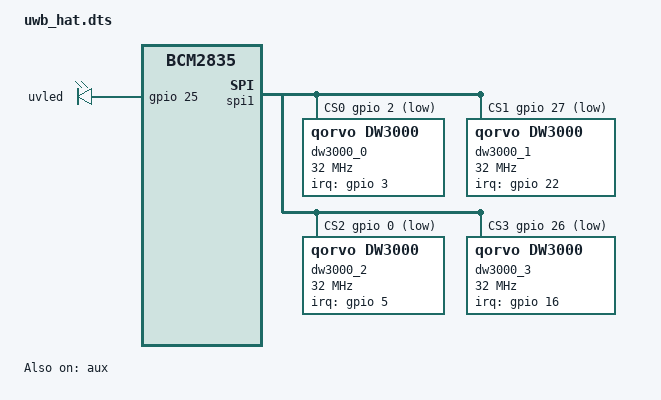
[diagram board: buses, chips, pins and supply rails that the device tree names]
/dts-v1/;
/plugin/;


/ {
	compatible = "brcm,bcm2835";

	fragment@0 {
		target = <&gpio>;
		__overlay__ {
			spi1_pins: spi1_pins {
				brcm,pins = <19 20 21>;
				brcm,function = <3>; /* alt4 */
			};

			spi1_cs_pins: spi1_cs_pins {
				brcm,pins = <2 27 0 26>;
				brcm,function = <1>; /* output */
			};

            port1_int_pins: port1_int_pins {
                brcm,pins = <3>;
                brcm,function = <0>; /* input */
                brcm,pull = <1>;
            };

            port2_int_pins: port2_int_pins {
                brcm,pins = <22>;
                brcm,function = <0>; /* input */
                brcm,pull = <1>;
            };

            port3_int_pins: port3_int_pins {
                brcm,pins = <5>;
                brcm,function = <0>; /* input */
                brcm,pull = <1>;
            };

            port4_int_pins: port4_int_pins {
                brcm,pins = <16>;
                brcm,function = <0>; /* input */
                brcm,pull = <1>;
            };

            uvled_pins: uvled_pins {
				brcm,pins = <25>; // gpio number
				brcm,function = <1>; // 0 = input, 1 = output
				brcm,pull = <0>; // 0 = none, 1 = pull down, 2 = pull up
			};
		};
	};

	fragment@1 {
		target = <&spi1>;
		frag1: __overlay__ {
			/* needed to avoid dtc warning */
			#address-cells = <1>;
			#size-cells = <0>;
			pinctrl-names = "default";
			pinctrl-0 = <&spi1_pins &spi1_cs_pins>;
			cs-gpios = <&gpio 2 1>, <&gpio 27 1>, <&gpio 0 1>, <&gpio 26 1>;
			status = "okay";

            dw3000_0: dw3000@0 {
				compatible = "qorvo,dw3000";
				status = "okay";

				pinctrl-names = "default";
				pinctrl-0 = <&port1_int_pins>;

				reg = <0>;
				interrupt-parent = <&gpio>;
				interrupts = <3 1>; /* active high */
				spi-max-frequency = <32000000>;
            };

            dw3000_1: dw3000@1 {
                compatible = "qorvo,dw3000";
				status = "okay";

                pinctrl-names = "default";
                pinctrl-0 = <&port2_int_pins>;

                reg = <1>;
                interrupt-parent = <&gpio>;
                interrupts = <22 1>; /* active high */
                spi-max-frequency = <32000000>;
            };

            dw3000_2: dw3000@2 {
                compatible = "qorvo,dw3000";
                status = "okay";

                pinctrl-names = "default";
                pinctrl-0 = <&port3_int_pins>;

                reg = <2>;
                interrupt-parent = <&gpio>;
                interrupts = <5 1>; /* active high */
                spi-max-frequency = <32000000>;
            };

            dw3000_3: dw3000@3 {
                compatible = "qorvo,dw3000";
                status = "okay";

                pinctrl-names = "default";
                pinctrl-0 = <&port4_int_pins>;

                reg = <3>;
                interrupt-parent = <&gpio>;
                interrupts = <16 1>; /* active high */
                spi-max-frequency = <32000000>;
            };
		};
	};

	fragment@2 {
		target = <&aux>;
		__overlay__ {
			status = "okay";
		};
	};

    fragment@3 {
		target-path = "/";
		__overlay__ {
			leds: leds@0 {
				compatible = "gpio-leds";
				pinctrl-names = "default";
				pinctrl-0 = <&uvled_pins>;
				status = "okay";

				led: led {
			                label = "uvled";
					gpios = <&gpio 25 0>;
			                linux,default-trigger = "none";
				};
			};
		};
	};

	__overrides__ {
		// Enable or disable the status of the ports
		port1 = <&dw3000_0>,"status";
		port2 = <&dw3000_1>,"status";
		port3 = <&dw3000_2>,"status";
		port4 = <&dw3000_3>,"status";

		// Set the SPI max frequency for the ports
        speed = <&dw3000_0>,"spi-max-frequency:0",
                <&dw3000_1>,"spi-max-frequency:0",
                <&dw3000_2>,"spi-max-frequency:0",
                <&dw3000_3>,"spi-max-frequency:0";

		// Set the default trigger for the LED
		led_trigger = <&led>,"linux,default-trigger";
	};
};
